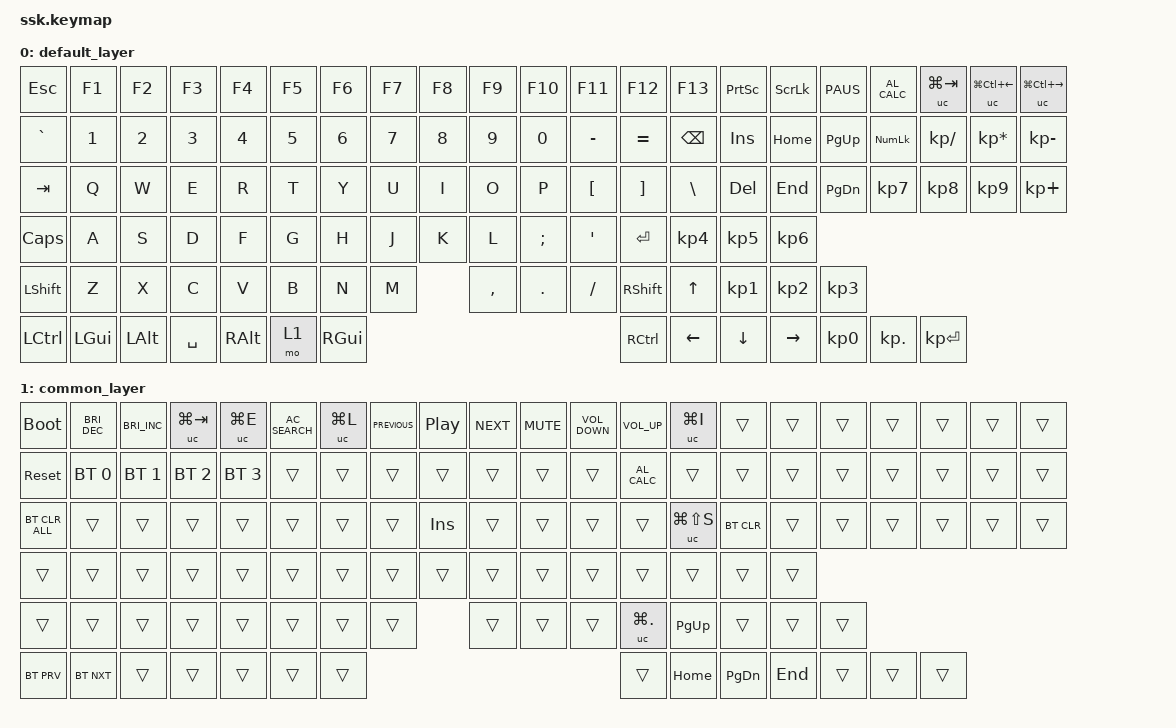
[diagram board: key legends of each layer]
#include <behaviors.dtsi>
#include <dt-bindings/zmk/bt.h>
#include <dt-bindings/zmk/keys.h>
#include <dt-bindings/zmk/outputs.h>

#define DEFAULT 0
#define COMMON 1
// #define FIXRALT 2

/ {
    // hold-tap that doesn't do anything on tap and BT_CLR on hold
  /*  bt_pair_0: bt_pair_0 {
        compatible = "zmk,behavior-hold-tap";
        label = "bt_pair0";
        #binding-cells = <2>;
        flavor = "tap-preferred";
        tapping-term-ms = <3000>;  // delay amount in ms
        bindings = <&bt_pair0>, <&bt_recon_0>;
    };
    bt_pair_1: bt_pair_1 {
        compatible = "zmk,behavior-hold-tap";
        label = "bt_pair1";
        #binding-cells = <2>;
        flavor = "tap-preferred";
        tapping-term-ms = <3000>;  // delay amount in ms
        bindings = <&bt_pair1>, <&bt_recon_1>;
    };
    bt_pair_2: bt_pair_2 {
        compatible = "zmk,behavior-hold-tap";
        label = "bt_pair2";
        #binding-cells = <2>;
        flavor = "tap-preferred";
        tapping-term-ms = <3000>;  // delay amount in ms
        bindings = <&bt_pair2>, <&bt_recon_2>;
    };
    bt_pair_3: bt_pair_3 {
        compatible = "zmk,behavior-hold-tap";
        label = "bt_pair3";
        #binding-cells = <2>;
        flavor = "tap-preferred";
        tapping-term-ms = <3000>;  // delay amount in ms
        bindings = <&bt_pair3>, <&bt_recon_3>;
    };
    */
    uc:user_custom {
        compatible = "zmk,behavior-key-press";
        label ="user_custom";
        #binding-cells =<1>;
    };

    keymap {
        compatible = "zmk,keymap";

        default_layer {
            bindings = <
            /* JAMES DONKEY 619  */          
            /*  |---------------|---------------|---------------|---------------|---------------|---------------|---------------|---------------|---------------|---------------|---------------|---------------|---------------|---------------|---------------|---------------|---------------|---------------|---------------|---------------|---------------|---------------|  */
            /*   &kp ESC                         &kp F1          &kp F2          &kp F3          &kp F4          &kp F5          &kp F6          &kp F7          &kp F8          &kp F9          &kp F10         &kp F11         &kp F12         &kp F13         &kp PSCRN       &kp SLCK        &kp PAUS        &kp C_AL_CALC   &uc LG(TAB)     &uc LG(LC(LEFT)) &uc LG(LC(RIGHT))*/
                 &kp ESC                         &kp F1          &kp F2          &kp F3          &kp F4          &kp F5          &kp F6          &kp F7          &kp F8          &kp F9          &kp F10         &kp F11         &kp F12         &kp F13         &kp PSCRN       &kp SLCK        &kp PAUS        &kp C_AL_CALC   &uc LG(TAB)     &uc LG(LC(LEFT)) &uc LG(LC(RIGHT))
            /*  |---------------|---------------|---------------|---------------|---------------|---------------|---------------|---------------|---------------|---------------|---------------|---------------|---------------|---------------|---------------|---------------|---------------|---------------|---------------|---------------|---------------|---------------|  */
            /*   &kp GRAVE       &kp N1          &kp N2          &kp N3          &kp N4          &kp N5          &kp N6          &kp N7          &kp N8          &kp N9          &kp N0          &kp MINUS       &kp EQUAL       &kp BSPC        &kp INS         &kp HOME        &kp PG_UP       &kp KP_NLCK     &kp KP_SLASH    &kp KP_ASTERISK &kp KP_MINUS                      */
                 &kp GRAVE       &kp N1          &kp N2          &kp N3          &kp N4          &kp N5          &kp N6         &kp N7           &kp N8          &kp N9          &kp N0          &kp MINUS       &kp EQUAL        &kp BSPC        &kp INS        &kp HOME        &kp PG_UP       &kp KP_NLCK     &kp KP_SLASH    &kp KP_ASTERISK &kp KP_MINUS
            /*  |---------------|---------------|---------------|---------------|---------------|---------------|---------------|---------------|---------------|---------------|---------------|---------------|---------------|---------------|---------------|---------------|---------------|---------------|---------------|---------------|---------------|---------------|  */
            /*   &kp TAB         &kp Q           &kp W           &kp E           &kp R           &kp T           &kp Y           &kp U           &kp I           &kp O           &kp P           &kp LBKT        &kp RBKT        &kp BSLH        &kp DEL         &kp END         &kp PG_DN       &kp KP_N7       &kp KP_N8       &kp KP_N9       &kp KP_PLUS                       */
                 &kp TAB         &kp Q           &kp W           &kp E           &kp R           &kp T           &kp Y           &kp U           &kp I           &kp O           &kp P           &kp LBKT        &kp RBKT        &kp BSLH        &kp DEL         &kp END         &kp PG_DN       &kp KP_N7       &kp KP_N8       &kp KP_N9       &kp KP_PLUS
            /*  |---------------|---------------|---------------|---------------|---------------|---------------|---------------|---------------|---------------|---------------|---------------|---------------|---------------|---------------|---------------|---------------|---------------|---------------|---------------|---------------|---------------|---------------|  */
            /*   &kp CLCK        &kp A           &kp S           &kp D           &kp F           &kp G           &kp H           &kp J           &kp K           &kp L           &kp SEMI        &kp SQT         &kp RET                         &kp KP_N4       &kp KP_N5       &kp KP_N6                                                                                         */
                 &kp CLCK        &kp A           &kp S           &kp D           &kp F           &kp G           &kp H           &kp J           &kp K           &kp L           &kp SEMI        &kp SQT         &kp RET                         &kp KP_N4       &kp KP_N5        &kp KP_N6                  
            /*  |---------------|---------------|---------------|---------------|---------------|---------------|---------------|---------------|---------------|---------------|---------------|---------------|---------------|---------------|---------------|---------------|---------------|---------------|---------------|---------------|---------------|---------------|  */
            /*   &kp LSHFT       &kp Z           &kp X           &kp C           &kp V           &kp B           &kp N           &kp M           &kp COMMA       &kp DOT         &kp FSLH                        &kp RSHFT                       &kp UP          &kp KP_N1       &kp KP_N2       &kp KP_N3                                                                         */
                 &kp LSHFT       &kp Z           &kp X           &kp C           &kp V           &kp B           &kp N           &kp M           &kp COMMA       &kp DOT         &kp FSLH                        &kp RSHFT                       &kp UP          &kp KP_N1       &kp KP_N2       &kp KP_N3                  
            /*  |---------------|---------------|---------------|---------------|---------------|---------------|---------------|---------------|---------------|---------------|---------------|---------------|---------------|---------------|---------------|---------------|---------------|---------------|---------------|---------------|---------------|---------------|  */
            /*   &kp LCTRL       &kp LGUI        &kp LALT                                        &kp SPACE                                                       &kp RALT        &kp RGUI        &mo 3                           &kp RCTRL       &kp LEFT        &kp DOWN        &kp RIGHT       &kp KP_N0       &kp KP_DOT      &kp KP_ENTER                                      */
                 &kp LCTRL       &kp LGUI        &kp LALT                                        &kp SPACE                                                       &kp RALT        &mo 1           &kp RGUI                        &kp RCTRL       &kp LEFT        &kp DOWN        &kp RIGHT       &kp KP_N0       &kp KP_DOT      &kp KP_ENTER    
            /*  |---------------|---------------|---------------|---------------|---------------|---------------|---------------|---------------|---------------|---------------|---------------|---------------|---------------|---------------|---------------|---------------|---------------|---------------|---------------|---------------|---------------|---------------|  */ 
            >;          
        };


        common_layer {
            bindings = <
            /* JAMES DONKEY 619  */          
            /*  |---------------|---------------|---------------|---------------|---------------|---------------|---------------|---------------|---------------|---------------|---------------|---------------|---------------|---------------|---------------|---------------|---------------|---------------|---------------|---------------|---------------|---------------|  */
            /*   &kp ESC                         &kp F1          &kp F2          &kp F3          &kp F4          &kp F5          &kp F6          &kp F7          &kp F8          &kp F9          &kp F10         &kp F11         &kp F12         &kp F13         &kp PSCRN       &kp SLCK        &kp PAUS        &kp C_AL_CALC   &uc LG(TAB)     &uc LG(LC(LEFT)) &uc LG(LC(RIGHT))*/
                 &bootloader           &kp C_BRIGHTNESS_DEC &kp C_BRIGHTNESS_INC &uc LG(TAB)     &uc LG(E)   &kp C_AC_SEARCH     &uc LG(L)       &kp C_PREVIOUS &kp C_PLAY_PAUSE &kp C_NEXT      &kp C_MUTE    &kp C_VOLUME_DOWN &kp C_VOLUME_UP &uc LG(I)       &trans          &trans          &trans          &trans          &trans          &trans          &trans
            /*  |---------------|---------------|---------------|---------------|---------------|---------------|---------------|---------------|---------------|---------------|---------------|---------------|---------------|---------------|---------------|---------------|---------------|---------------|---------------|---------------|---------------|---------------|  */
            /*   &kp GRAVE       &kp N1          &kp N2          &kp N3          &kp N4          &kp N5          &kp N6          &kp N7          &kp N8          &kp N9          &kp N0          &kp MINUS       &kp EQUAL       &kp BSPC        &kp INS         &kp HOME        &kp PG_UP       &kp KP_NLCK     &kp KP_SLASH    &kp KP_ASTERISK &kp KP_MINUS                      */
            /*   &trans          &bt_pair_0 0 0  &bt_pair_1 0 0  &bt_pair_2 0 0  &bt_pair_3 0 0  &trans          &trans          &trans          &trans          &trans          &trans          &trans          &kp C_AL_CALC   &trans          &trans          &trans          &trans          &trans          &trans          &trans          &trans                            */    
                 &sys_reset      &bt BT_SEL 0    &bt BT_SEL 1    &bt BT_SEL 2    &bt BT_SEL 3    &trans          &trans          &trans          &trans          &trans          &trans          &trans          &kp C_AL_CALC   &trans          &trans          &trans          &trans          &trans          &trans          &trans          &trans                            
            /*  |---------------|---------------|---------------|---------------|---------------|---------------|---------------|---------------|---------------|---------------|---------------|---------------|---------------|---------------|---------------|---------------|---------------|---------------|---------------|---------------|---------------|---------------|  */
            /*   &kp TAB         &kp Q           &kp W           &kp E           &kp R           &kp T           &kp Y           &kp U           &kp I           &kp O           &kp P           &kp LBKT        &kp RBKT        &kp BSLH        &kp DEL         &kp END         &kp PG_DN       &kp KP_N7       &kp KP_N8       &kp KP_N9       &kp KP_PLUS                       */
                 &bt BT_CLR_ALL  &trans          &trans          &trans          &trans          &trans          &trans          &trans          &kp INS         &trans          &trans          &trans          &trans          &uc LG(LS(S))   &bt BT_CLR      &trans          &trans          &trans          &trans          &trans          &trans   
            /*  |---------------|---------------|---------------|---------------|---------------|---------------|---------------|---------------|---------------|---------------|---------------|---------------|---------------|---------------|---------------|---------------|---------------|---------------|---------------|---------------|---------------|---------------|  */
            /*   &kp CLCK        &kp A           &kp S           &kp D           &kp F           &kp G           &kp H           &kp J           &kp K           &kp L           &kp SEMI        &kp SQT         &kp RET                         &kp KP_N4       &kp KP_N5       &kp KP_N6                                                                                         */
                 &trans          &trans          &trans          &trans          &trans          &trans          &trans          &trans          &trans          &trans          &trans          &trans          &trans                          &trans          &trans          &trans
            /*  |---------------|---------------|---------------|---------------|---------------|---------------|---------------|---------------|---------------|---------------|---------------|---------------|---------------|---------------|---------------|---------------|---------------|---------------|---------------|---------------|---------------|---------------|  */
            /*   &kp LSHFT       &kp Z           &kp X           &kp C           &kp V           &kp B           &kp N           &kp M           &kp COMMA       &kp DOT         &kp FSLH                        &kp RSHFT                       &kp UP          &kp KP_N1       &kp KP_N2       &kp KP_N3                                                                         */
                 &trans          &trans          &trans          &trans          &trans          &trans          &trans          &trans          &trans          &trans          &trans                          &uc LG(DOT)                     &kp PG_UP       &trans          &trans          &trans
            /*  |---------------|---------------|---------------|---------------|---------------|---------------|---------------|---------------|---------------|---------------|---------------|---------------|---------------|---------------|---------------|---------------|---------------|---------------|---------------|---------------|---------------|---------------|  */
            /*   &kp LCTRL       &kp LGUI        &kp LALT                                        &kp SPACE                                                       &kp RALT        &kp RGUI        &mo 3                           &kp RCTRL       &kp LEFT        &kp DOWN        &kp RIGHT       &kp KP_N0       &kp KP_DOT      &kp KP_ENTER                                      */
                 &bt BT_PRV      &bt BT_NXT      &trans                                          &trans                                                          &trans          &trans          &trans                          &trans          &kp HOME        &kp PG_DN       &kp END         &trans          &trans          &trans
            /*  |---------------|---------------|---------------|---------------|---------------|---------------|---------------|---------------|---------------|---------------|---------------|---------------|---------------|---------------|---------------|---------------|---------------|---------------|---------------|---------------|---------------|---------------|  */ 
            >;          
        };        
    };
};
